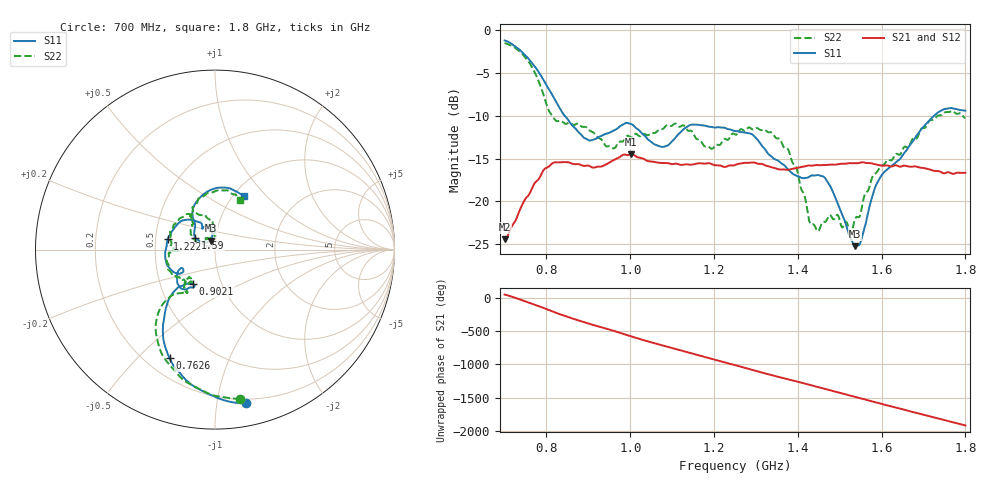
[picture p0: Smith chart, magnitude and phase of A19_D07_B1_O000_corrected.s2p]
! Created with skrf 1.9.0 (http://scikit-rf.org).
# Hz S RI R 50.0
!freq ReS11 ImS11 ReS21 ImS21 ReS12 ImS12 ReS22 ImS22
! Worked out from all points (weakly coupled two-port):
!   1601 points, 700 MHz to 1.8 GHz, reference 50 ohm
!   highest |S21| = -14.50 dB at 1.002 GHz (marker M1); lowest = -24.5 dB at 700.7 MHz (marker M2)
!   lowest |S11| = -25.3 dB at 1.537 GHz (marker M3), VSWR 1.12, Z = 47.5 + j4.7 ohm
!   |S11| at or under -10 dB: 843.6 MHz to 1.725 GHz (881.4 MHz wide, 68.6 % of centre)
!   |S22| runs from -23.8 to -1.5 dB; largest |S21 - S12| = 0.0035
!   S11 on the Smith chart (normalised r, x): 700 MHz: 0.17, -1.21; 762.6 MHz: 0.29, -0.63; 902.1 MHz: 0.73, -0.30; 1.222 GHz: 0.58, +0.07; 1.59 GHz: 0.80, +0.11; 1.8 GHz: 1.12, +0.75
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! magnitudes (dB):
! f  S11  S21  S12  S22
! 700 MHz  -1.2  -24.5  -24.3  -1.5
! 700.7 MHz  -1.2  -24.5  -24.2  -1.5
! 762.6 MHz  -3.7  -18.8  -18.8  -4.1
! 818.2 MHz  -7.9  -15.5  -15.6  -10.3
! 883.6 MHz  -12.3  -15.8  -15.7  -11.2
! 902.1 MHz  -12.9  -15.9  -15.9  -11.7
! 959.2 MHz  -11.8  -15.2  -15.2  -13.8
! 1.002 GHz  -11.0  -14.5  -14.6  -12.6
! 1.067 GHz  -13.5  -15.5  -15.4  -11.7
! 1.144 GHz  -11.0  -15.7  -15.7  -11.7
! 1.222 GHz  -11.4  -16.0  -16.0  -12.8
! 1.25 GHz  -11.8  -15.8  -15.7  -12.2
! 1.357 GHz  -15.4  -16.3  -16.2  -12.7
! 1.396 GHz  -17.0  -16.1  -16.1  -16.0
! 1.434 GHz  -17.0  -15.8  -15.8  -22.7
! 1.473 GHz  -17.9  -15.7  -15.7  -21.8
! 1.537 GHz  -25.3  -15.5  -15.6  -22.1
! 1.55 GHz  -24.7  -15.5  -15.5  -21.3
! 1.59 GHz  -17.8  -15.7  -15.7  -16.5
! 1.617 GHz  -16.1  -15.9  -15.8  -15.2
! 1.733 GHz  -9.7  -16.5  -16.5  -10.0
! 1.8 GHz  -9.4  -16.7  -16.7  -10.2
